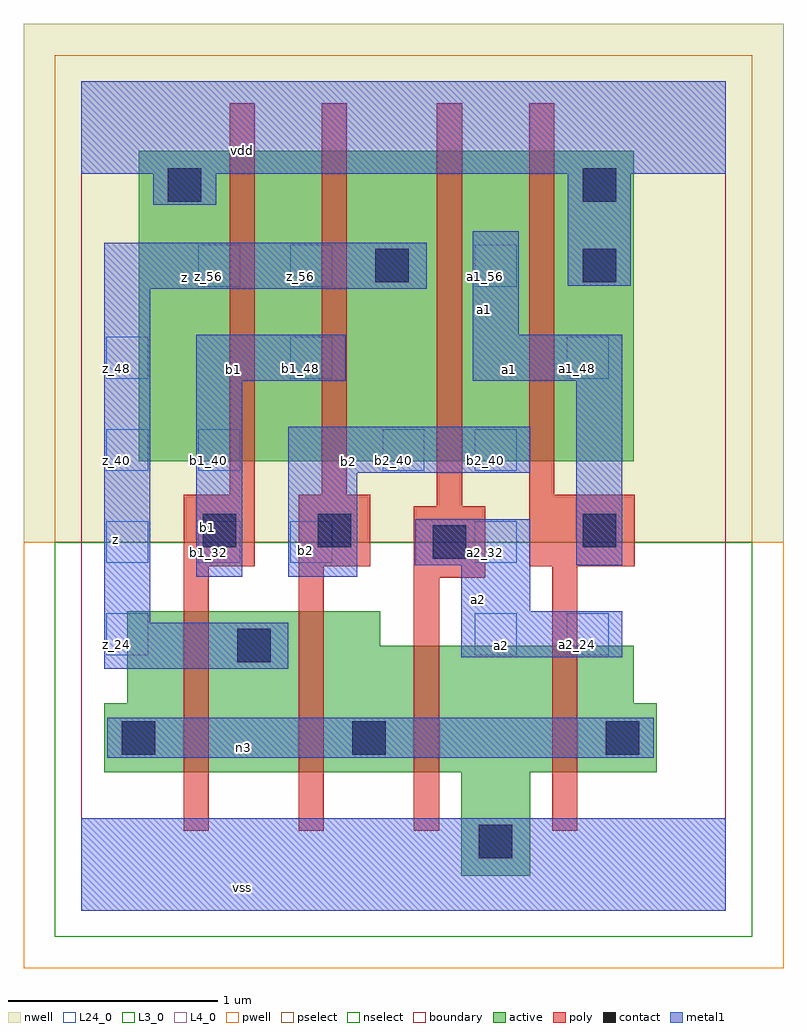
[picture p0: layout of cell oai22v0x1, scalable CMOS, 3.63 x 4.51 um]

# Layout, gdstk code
import gdstk
lib = gdstk.Library(unit=1e-6, precision=2.5e-09)
def R(c, l, rs):  # rectangles x0, y0, x1, y1
    for r in rs: c.add(gdstk.rectangle(r[:2], r[2:], *l))
def A(c, l, x, y, w, h, nx, ny, dx, dy):  # array of equal rectangles
    R(c, l, [(x+i*dx, y+j*dy, x+i*dx+w, y+j*dy+h) for i in range(nx) for j in range(ny)])
L3_0 = (3, 0)
L4_0 = (4, 0)
L24_0 = (24, 0)
contact = (25, 0)
pwell = (41, 0)
nwell = (42, 0)
active = (43, 0)
pselect = (44, 0)
nselect = (45, 0)
poly = (46, 0)
metal1 = (49, 0)
boundary = (63, 0)

oai22v0x1 = lib.new_cell('oai22v0x1')
R(oai22v0x1, L3_0, [(1.815,0.165,2.145,0.66), (0.11,0.66,2.75,0.99), (0.22,0.99,2.64,1.265), (0.22,1.265,1.43,1.43)])
R(oai22v0x1, L4_0, [(0.275,2.145,2.64,3.63)])
A(oai22v0x1, L24_0, 1.88, 1.22, 0.2, 0.2, 1, 3, 0, 0.44)
A(oai22v0x1, L24_0, 0.12, 1.66, 0.2, 0.2, 3, 1, 0.44, 0)
R(oai22v0x1, L24_0, [(0.12,1.22,0.32,1.42), (2.32,1.22,2.52,1.42), (0.12,2.1,0.32,2.3), (0.56,2.1,0.76,2.3), (1.44,2.1,1.64,2.3), (0.12,2.54,0.32,2.74), (1,2.54,1.2,2.74), (2.32,2.54,2.52,2.74), (0.56,2.98,0.76,3.18), (1,2.98,1.2,3.18), (1.88,2.98,2.08,3.18)])
R(oai22v0x1, contact, [(1.9,0.25,2.06,0.41), (0.195,0.745,0.355,0.905), (1.295,0.745,1.455,0.905), (2.505,0.745,2.665,0.905), (0.745,1.185,0.905,1.345), (1.68,1.68,1.84,1.84), (0.58,1.735,0.74,1.895), (1.13,1.735,1.29,1.895), (2.395,1.735,2.555,1.895), (1.405,3,1.565,3.16), (2.395,3,2.555,3.16), (0.415,3.385,0.575,3.545), (2.395,3.385,2.555,3.545)])
R(oai22v0x1, pwell, [(-0.275,-0.275,3.355,1.76)])
R(oai22v0x1, nwell, [(-0.275,1.76,3.355,4.235)])
R(oai22v0x1, active, [(1.815,0.165,2.145,0.66), (0.11,0.66,2.75,0.99), (0.22,0.99,2.64,1.265), (0.22,1.265,1.43,1.43), (0.275,2.145,2.64,3.63)])
R(oai22v0x1, pselect, [(-0.125,1.76,3.205,4.085)])
R(oai22v0x1, nselect, [(-0.125,-0.125,3.205,1.76)])
R(oai22v0x1, poly, [(0.49,0.38,0.61,1.645), (1.04,0.38,1.16,1.645), (1.59,0.38,1.71,1.59), (2.25,0.38,2.37,1.645), (1.59,1.59,1.93,1.93), (0.49,1.645,0.83,1.985), (1.04,1.645,1.38,1.985), (2.14,1.645,2.645,1.985), (1.7,1.93,1.82,3.855), (0.71,1.985,0.83,3.855), (1.15,1.985,1.27,3.855), (2.14,1.985,2.26,3.855)])
R(oai22v0x1, metal1, [(0,0,3.08,0.44), (0.125,0.73,2.735,0.92), (0.11,1.155,0.99,1.375), (1.815,1.21,2.585,1.43), (0.11,1.375,0.33,2.97), (1.815,1.43,2.145,1.65), (0.55,1.595,0.77,2.53), (0.99,1.595,1.32,2.09), (1.595,1.65,2.145,1.87), (2.365,1.65,2.585,2.53), (0.99,2.09,2.145,2.31), (0.55,2.53,1.265,2.75), (1.87,2.53,2.585,2.75), (1.87,2.75,2.09,3.245), (0.11,2.97,1.65,3.19), (2.325,2.985,2.625,3.52), (0.345,3.37,0.645,3.52), (0,3.52,3.08,3.96)])
R(oai22v0x1, boundary, [(0,0,3.08,3.96)])
oai22v0x1.add(gdstk.Label('vss', (0.77,0.11), layer=49, texttype=0))
oai22v0x1.add(gdstk.Label('n3', (0.7775,0.7775), layer=49, texttype=0))
oai22v0x1.add(gdstk.Label('a2', (2.0075,1.265), layer=49, texttype=0))
oai22v0x1.add(gdstk.Label('a2', (1.8975,1.485), layer=49, texttype=0))
oai22v0x1.add(gdstk.Label('b2', (1.0725,1.7175), layer=49, texttype=0))
oai22v0x1.add(gdstk.Label('b2', (1.2775,2.145), layer=49, texttype=0))
oai22v0x1.add(gdstk.Label('b1', (0.605,1.8275), layer=49, texttype=0))
oai22v0x1.add(gdstk.Label('a1', (2.0475,2.585), layer=49, texttype=0))
oai22v0x1.add(gdstk.Label('b1', (0.7275,2.585), layer=49, texttype=0))
oai22v0x1.add(gdstk.Label('a1', (1.925,2.8725), layer=49, texttype=0))
oai22v0x1.add(gdstk.Label('z', (0.165,1.7725), layer=49, texttype=0))
oai22v0x1.add(gdstk.Label('z', (0.495,3.025), layer=49, texttype=0))
oai22v0x1.add(gdstk.Label('vdd', (0.77,3.63), layer=49, texttype=0))
oai22v0x1.add(gdstk.Label('a1_48', (2.37,2.59), layer=24, texttype=0))
oai22v0x1.add(gdstk.Label('a2_24', (2.37,1.27), layer=24, texttype=0))
oai22v0x1.add(gdstk.Label('z_48', (0.17,2.59), layer=24, texttype=0))
oai22v0x1.add(gdstk.Label('z_40', (0.17,2.15), layer=24, texttype=0))
oai22v0x1.add(gdstk.Label('z_32', (0.17,1.71), layer=24, texttype=0))
oai22v0x1.add(gdstk.Label('z_24', (0.17,1.27), layer=24, texttype=0))
oai22v0x1.add(gdstk.Label('a1_56', (1.93,3.03), layer=24, texttype=0))
oai22v0x1.add(gdstk.Label('b2_40', (1.93,2.15), layer=24, texttype=0))
oai22v0x1.add(gdstk.Label('a2_32', (1.93,1.71), layer=24, texttype=0))
oai22v0x1.add(gdstk.Label('a2_24', (1.93,1.27), layer=24, texttype=0))
oai22v0x1.add(gdstk.Label('b2_40', (1.49,2.15), layer=24, texttype=0))
oai22v0x1.add(gdstk.Label('z_56', (1.05,3.03), layer=24, texttype=0))
oai22v0x1.add(gdstk.Label('b1_48', (1.05,2.59), layer=24, texttype=0))
oai22v0x1.add(gdstk.Label('b2_32', (1.05,1.71), layer=24, texttype=0))
oai22v0x1.add(gdstk.Label('z_56', (0.61,3.03), layer=24, texttype=0))
oai22v0x1.add(gdstk.Label('b1_40', (0.61,2.15), layer=24, texttype=0))
oai22v0x1.add(gdstk.Label('b1_32', (0.61,1.71), layer=24, texttype=0))

lib.write_gds('oai22v0x1.gds')
